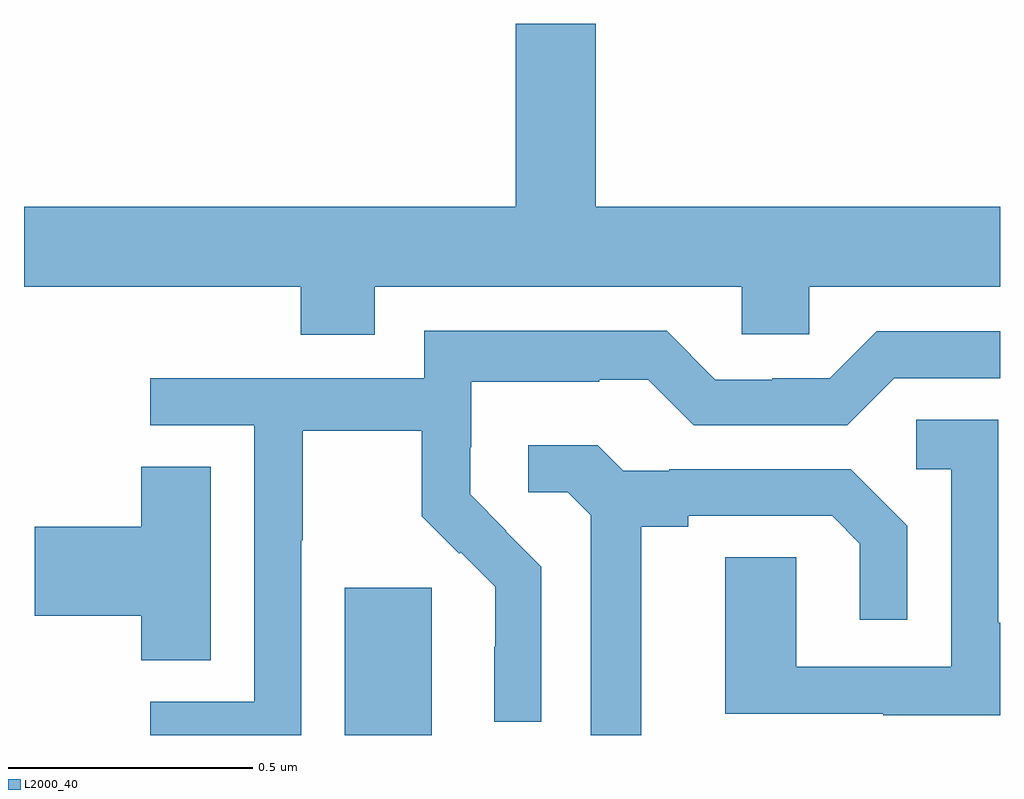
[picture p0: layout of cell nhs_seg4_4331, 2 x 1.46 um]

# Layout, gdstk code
import gdstk
lib = gdstk.Library(unit=1e-6, precision=1e-09)
def R(c, l, rs):  # rectangles x0, y0, x1, y1
    for r in rs: c.add(gdstk.rectangle(r[:2], r[2:], *l))
def P(c, l, *ps):  # polygons
    for p in ps: c.add(gdstk.Polygon(p, *l))
L2000_40 = (2000, 40)

nhs_seg4_4331 = lib.new_cell('nhs_seg4_4331')
R(nhs_seg4_4331, L2000_40, [(164.657,795.9,164.836,796.203)])
P(nhs_seg4_4331, L2000_40, [(164.719,796.82),(165.471,796.82),(165.471,796.722),(165.609,796.722),(165.609,796.82),(166,796.82),(166,796.984),(165.172,796.984),(165.172,797.359),(165.008,797.359),(165.008,796.984),(164,796.984),(164,796.82),(164.567,796.82),(164.567,796.721),(164.719,796.721)],
  [(164.568,796.3),(164.571,796.3),(164.571,796.524),(164.815,796.524),(164.815,796.349),(164.892,796.272),(164.895,796.275),(164.966,796.205),(164.966,796.082),(164.964,796.082),(164.964,795.928),(165.06,795.928),(165.06,796.246),(164.987,796.319),(164.988,796.32),(164.914,796.394),(164.914,796.491),(164.916,796.491),(164.916,796.625),(165.179,796.625),(165.179,796.629),(165.279,796.629),(165.372,796.536),(165.687,796.536),(165.783,796.632),(166,796.632),(166,796.728),(165.747,796.728),(165.651,796.632),(165.533,796.632),(165.533,796.629),(165.417,796.629),(165.317,796.729),(164.82,796.729),(164.82,796.632),(164.259,796.632),(164.259,796.536),(164.472,796.536),(164.472,795.969),(164.259,795.969),(164.259,795.9),(164.568,795.9)],
  [(166,796.131),(165.996,796.131),(165.996,796.547),(165.828,796.547),(165.828,796.446),(165.9,796.446),(165.9,796.041),(165.582,796.041),(165.582,796.265),(165.437,796.265),(165.437,795.945),(165.761,795.945),(165.761,795.941),(166,795.941)],
  [(165.265,796.328),(165.361,796.328),(165.361,796.35),(165.656,796.35),(165.713,796.293),(165.713,796.137),(165.81,796.137),(165.81,796.33),(165.694,796.446),(165.322,796.446),(165.322,796.443),(165.228,796.443),(165.176,796.495),(165.033,796.495),(165.033,796.398),(165.114,796.398),(165.161,796.351),(165.161,795.9),(165.265,795.9)],
  [(164.383,796.451),(164.24,796.451),(164.24,796.328),(164.022,796.328),(164.022,796.145),(164.24,796.145),(164.24,796.054),(164.383,796.054)])

lib.write_gds('nhs_seg4_4331.gds')
